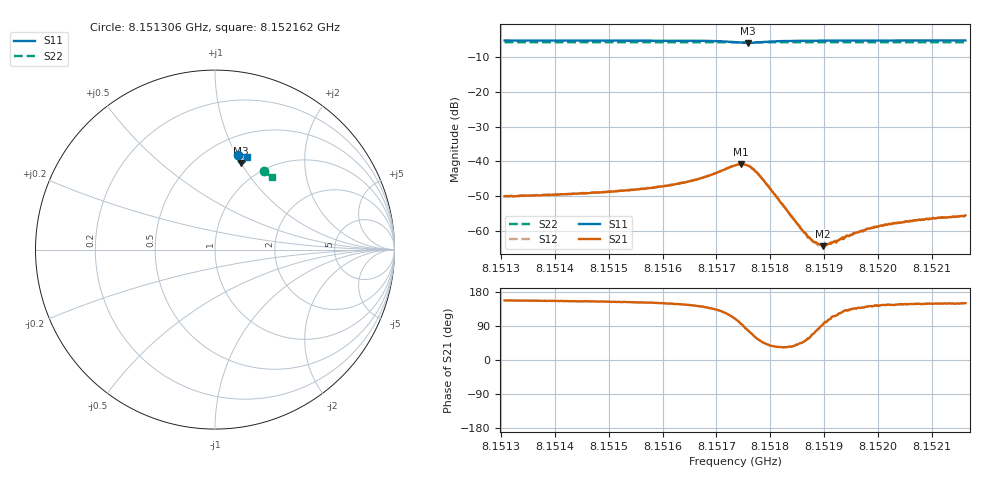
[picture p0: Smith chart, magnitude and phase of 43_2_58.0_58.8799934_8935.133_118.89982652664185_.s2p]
#  HZ  S  RI  R  50.00
! Rohde & Schwarz Vector Network Analyzer
! Rohde-Schwarz,ZNB20-2Port,1311601062101988,3.16
! Created: UTC 3/21/2024, 12:52:10 AM
! freq[Hz]  re:S11  im:S11  re:S21  im:S21  re:S12  im:S12  re:S22  im:S22
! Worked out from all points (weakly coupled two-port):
!   401 points, 8.151306 GHz to 8.152162 GHz, reference 50 ohm
!   highest |S21| = -40.74 dB at 8.151745 GHz (marker M1); lowest = -64.3 dB at 8.151897 GHz (marker M2)
!   lowest |S11| = -6.0 dB at 8.151758 GHz (marker M3), VSWR 3.02, Z = 38.7 + j49.8 ohm
!   |S11| at or under -10 dB: nowhere
!   |S22| runs from -5.8 to -5.8 dB; largest |S21 - S12| = 0.00025
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8.1513065e9  0.1274 0.5286  -0.00292 0.00123  -0.00292 0.00126  0.2706 0.437
8.1514498e9  0.139 0.5256  -0.00315 0.00147  -0.00313 0.00156  0.2784 0.432
8.1515247e9  0.1454 0.5235  -0.00339 0.00174  -0.00341 0.00174  0.2824 0.4291
8.1515932e9  0.1524 0.5209  -0.00376 0.00214  -0.00377 0.00224  0.286 0.4264
8.1516253e9  0.1562 0.5187  -0.00402 0.00254  -0.00399 0.0026  0.2878 0.4253
8.1516638e9  0.1615 0.5145  -0.00442 0.00334  -0.00437 0.00345  0.2898 0.4235
8.1517344e9  0.1639 0.4876  -0.00288 0.00831  -0.00274 0.00841  0.2932 0.42
8.1517451e9  0.1564 0.4818  -0.000933 0.00914  -0.000932 0.00912  0.2932 0.4196
8.151758e9  0.1434 0.4813  0.00168 0.00859  0.0018 0.00858  0.2935 0.4193
8.1517708e9  0.1333 0.4888  0.00354 0.0066  0.00358 0.00659  0.2939 0.4194
8.1517836e9  0.1304 0.499  0.00386 0.00437  0.00395 0.00436  0.2946 0.4193
8.1518585e9  0.147 0.5186  0.000744 0.000751  0.000756 0.000745  0.2991 0.4169
8.1518671e9  0.1484 0.5189  0.000541 0.000717  0.000544 0.000703  0.2997 0.4166
8.1518778e9  0.1501 0.5192  0.000281 0.000691  0.000299 0.00066  0.3002 0.4162
8.1518885e9  0.1519 0.5192  9.84e-05 0.000652  0.000125 0.000614  0.3008 0.4157
8.151897e9  0.153 0.5192  -2.97e-05 0.00061  -2.83e-05 0.00061  0.3013 0.4154
8.1519077e9  0.1545 0.5193  -0.000183 0.000634  -0.000162 0.000639  0.3019 0.415
8.1519676e9  0.1614 0.5186  -0.000738 0.000685  -0.00076 0.000646  0.305 0.4127
8.1519826e9  0.1628 0.5184  -0.000859 0.000674  -0.000835 0.000688  0.3058 0.4121
8.1520211e9  0.1662 0.5177  -0.00107 0.000712  -0.00101 0.000737  0.3079 0.4105
8.1520639e9  0.1701 0.5168  -0.00117 0.000746  -0.00119 0.000786  0.3099 0.4089
8.1521624e9  0.1778 0.5147  -0.00146 0.000846  -0.00141 0.000888  0.3151 0.4048
